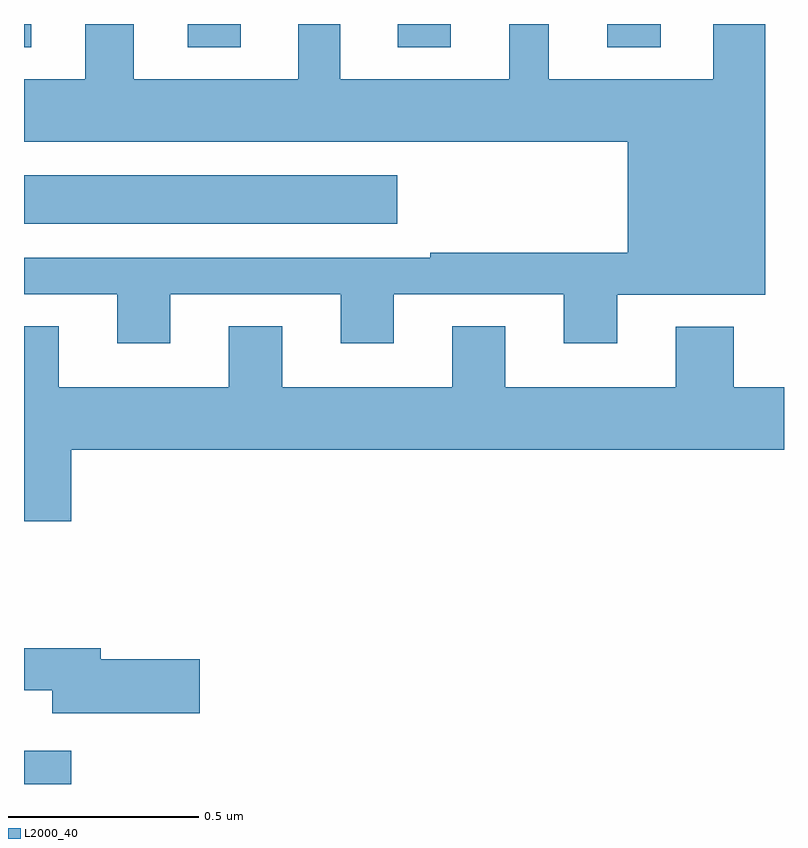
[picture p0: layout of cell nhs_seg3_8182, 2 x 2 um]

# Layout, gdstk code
import gdstk
lib = gdstk.Library(unit=1e-6, precision=1e-09)
def R(c, l, rs):  # rectangles x0, y0, x1, y1
    for r in rs: c.add(gdstk.rectangle(r[:2], r[2:], *l))
def A(c, l, x, y, w, h, nx, ny, dx, dy):  # array of equal rectangles
    R(c, l, [(x+i*dx, y+j*dy, x+i*dx+w, y+j*dy+h) for i in range(nx) for j in range(ny)])
def P(c, l, *ps):  # polygons
    for p in ps: c.add(gdstk.Polygon(p, *l))
L2000_40 = (2000, 40)

nhs_seg3_8182 = lib.new_cell('nhs_seg3_8182')
A(nhs_seg3_8182, L2000_40, 213.431, 671.339, 0.14, 0.061, 3, 1, 0.552, 0)
R(nhs_seg3_8182, L2000_40, [(213,669.4,213.124,669.487), (213,670.874,213.982,671.002), (213,671.339,213.019,671.4)])
P(nhs_seg3_8182, L2000_40, [(213.385,670.689),(213.833,670.689),(213.833,670.56),(213.973,670.56),(213.973,670.689),(214.421,670.689),(214.421,670.56),(214.561,670.56),(214.561,670.688),(214.951,670.688),(214.951,671.4),(214.814,671.4),(214.814,671.254),(214.381,671.254),(214.381,671.4),(214.277,671.4),(214.277,671.254),(213.832,671.254),(213.832,671.4),(213.722,671.4),(213.722,671.254),(213.289,671.254),(213.289,671.4),(213.161,671.4),(213.161,671.254),(213,671.254),(213,671.09),(214.589,671.09),(214.589,670.798),(214.069,670.798),(214.069,670.785),(213,670.785),(213,670.689),(213.245,670.689),(213.245,670.56),(213.385,670.56)],
  [(215,670.444),(214.868,670.444),(214.868,670.603),(214.715,670.603),(214.715,670.444),(214.267,670.444),(214.267,670.604),(214.127,670.604),(214.127,670.444),(213.679,670.444),(213.679,670.604),(213.539,670.604),(213.539,670.444),(213.091,670.444),(213.091,670.604),(213,670.604),(213,670.092),(213.124,670.092),(213.124,670.28),(215,670.28)],
  [(213.463,669.728),(213.202,669.728),(213.202,669.757),(213,669.757),(213,669.647),(213.074,669.647),(213.074,669.586),(213.463,669.586)])

lib.write_gds('nhs_seg3_8182.gds')
